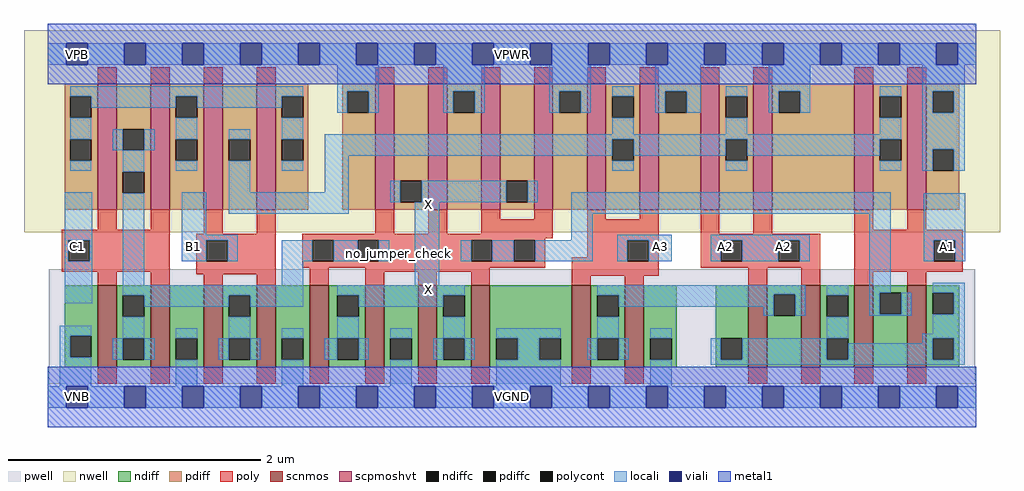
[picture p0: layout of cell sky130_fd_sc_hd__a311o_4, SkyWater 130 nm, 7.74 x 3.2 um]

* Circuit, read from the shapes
.subckt sky130_fd_sc_hd__a311o_4 A1 A2 A3 B1 C1 VGND VNB VPB VPWR X
XM1 n1 C1 VGND VNB sky130_fd_pr__nfet_01v8 w=0.65 l=0.15 m=2
XM2 n1 B1 VGND VNB sky130_fd_pr__nfet_01v8 w=0.65 l=0.15 m=2
XM3 X n1 VGND VNB sky130_fd_pr__nfet_01v8 w=0.65 l=0.15 m=4
XM4 n2 A3 VGND VNB sky130_fd_pr__nfet_01v8 w=0.65 l=0.15 m=2
XM5 n2 A2 n3 VNB sky130_fd_pr__nfet_01v8 w=0.65 l=0.15 m=2
XM6 n1 A1 n3 VNB sky130_fd_pr__nfet_01v8 w=0.65 l=0.15 m=2
XM7 n1 C1 n4 VPB sky130_fd_pr__pfet_01v8_hvt w=1 l=0.15 m=2
XM8 n5 B1 n4 VPB sky130_fd_pr__pfet_01v8_hvt w=1 l=0.15 m=2
XM9 X n1 VPWR VPB sky130_fd_pr__pfet_01v8_hvt w=1 l=0.15 m=4
XM10 n5 A3 VPWR VPB sky130_fd_pr__pfet_01v8_hvt w=1 l=0.15 m=2
XM11 n5 A2 VPWR VPB sky130_fd_pr__pfet_01v8_hvt w=1 l=0.15 m=2
XM12 n5 A1 VPWR VPB sky130_fd_pr__pfet_01v8_hvt w=1 l=0.15 m=2
.ends

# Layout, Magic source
magic
tech sky130B
magscale 1 2
<< nwell >>
rect -38 261 1510 582
<< pwell >>
rect 1 21 1471 203
rect 30 -17 64 21
<< scnmos >>
rect 79 47 109 177
rect 163 47 193 177
rect 247 47 277 177
rect 331 47 361 177
rect 415 47 445 177
rect 503 47 533 177
rect 587 47 617 177
rect 671 47 701 177
rect 831 47 861 177
rect 915 47 945 177
rect 1111 47 1141 177
rect 1195 47 1225 177
rect 1279 47 1309 177
rect 1363 47 1393 177
<< scpmoshvt >>
rect 79 297 109 497
rect 163 297 193 497
rect 247 297 277 497
rect 331 297 361 497
rect 519 297 549 497
rect 603 297 633 497
rect 687 297 717 497
rect 771 297 801 497
rect 855 297 885 497
rect 939 297 969 497
rect 1035 297 1065 497
rect 1119 297 1149 497
rect 1279 297 1309 497
rect 1363 297 1393 497
<< ndiff >>
rect 27 97 79 177
rect 27 63 35 97
rect 69 63 79 97
rect 27 47 79 63
rect 109 161 163 177
rect 109 127 119 161
rect 153 127 163 161
rect 109 93 163 127
rect 109 59 119 93
rect 153 59 163 93
rect 109 47 163 59
rect 193 93 247 177
rect 193 59 203 93
rect 237 59 247 93
rect 193 47 247 59
rect 277 161 331 177
rect 277 127 287 161
rect 321 127 331 161
rect 277 93 331 127
rect 277 59 287 93
rect 321 59 331 93
rect 277 47 331 59
rect 361 93 415 177
rect 361 59 371 93
rect 405 59 415 93
rect 361 47 415 59
rect 445 161 503 177
rect 445 127 459 161
rect 493 127 503 161
rect 445 93 503 127
rect 445 59 459 93
rect 493 59 503 93
rect 445 47 503 59
rect 533 93 587 177
rect 533 59 543 93
rect 577 59 587 93
rect 533 47 587 59
rect 617 161 671 177
rect 617 127 627 161
rect 661 127 671 161
rect 617 93 671 127
rect 617 59 627 93
rect 661 59 671 93
rect 617 47 671 59
rect 701 93 831 177
rect 701 59 711 93
rect 745 59 779 93
rect 813 59 831 93
rect 701 47 831 59
rect 861 161 915 177
rect 861 127 871 161
rect 905 127 915 161
rect 861 93 915 127
rect 861 59 871 93
rect 905 59 915 93
rect 861 47 915 59
rect 945 93 997 177
rect 945 59 955 93
rect 989 59 997 93
rect 945 47 997 59
rect 1059 93 1111 177
rect 1059 59 1067 93
rect 1101 59 1111 93
rect 1059 47 1111 59
rect 1141 163 1195 177
rect 1141 129 1151 163
rect 1185 129 1195 163
rect 1141 47 1195 129
rect 1225 161 1279 177
rect 1225 127 1235 161
rect 1269 127 1279 161
rect 1225 93 1279 127
rect 1225 59 1235 93
rect 1269 59 1279 93
rect 1225 47 1279 59
rect 1309 165 1363 177
rect 1309 131 1319 165
rect 1353 131 1363 165
rect 1309 47 1363 131
rect 1393 165 1445 177
rect 1393 131 1403 165
rect 1437 131 1445 165
rect 1393 93 1445 131
rect 1393 59 1403 93
rect 1437 59 1445 93
rect 1393 47 1445 59
<< pdiff >>
rect 27 477 79 497
rect 27 443 35 477
rect 69 443 79 477
rect 27 409 79 443
rect 27 375 35 409
rect 69 375 79 409
rect 27 297 79 375
rect 109 425 163 497
rect 109 391 119 425
rect 153 391 163 425
rect 109 357 163 391
rect 109 323 119 357
rect 153 323 163 357
rect 109 297 163 323
rect 193 477 247 497
rect 193 443 203 477
rect 237 443 247 477
rect 193 409 247 443
rect 193 375 203 409
rect 237 375 247 409
rect 193 297 247 375
rect 277 409 331 497
rect 277 375 287 409
rect 321 375 331 409
rect 277 297 331 375
rect 361 477 413 497
rect 361 443 371 477
rect 405 443 413 477
rect 361 409 413 443
rect 361 375 371 409
rect 405 375 413 409
rect 361 297 413 375
rect 467 485 519 497
rect 467 451 475 485
rect 509 451 519 485
rect 467 297 519 451
rect 549 343 603 497
rect 549 309 559 343
rect 593 309 603 343
rect 549 297 603 309
rect 633 485 687 497
rect 633 451 643 485
rect 677 451 687 485
rect 633 297 687 451
rect 717 343 771 497
rect 717 309 727 343
rect 761 309 771 343
rect 717 297 771 309
rect 801 485 855 497
rect 801 451 811 485
rect 845 451 855 485
rect 801 297 855 451
rect 885 477 939 497
rect 885 443 895 477
rect 929 443 939 477
rect 885 409 939 443
rect 885 375 895 409
rect 929 375 939 409
rect 885 297 939 375
rect 969 485 1035 497
rect 969 451 979 485
rect 1013 451 1035 485
rect 969 297 1035 451
rect 1065 477 1119 497
rect 1065 443 1075 477
rect 1109 443 1119 477
rect 1065 409 1119 443
rect 1065 375 1075 409
rect 1109 375 1119 409
rect 1065 297 1119 375
rect 1149 485 1279 497
rect 1149 451 1159 485
rect 1193 451 1279 485
rect 1149 297 1279 451
rect 1309 477 1363 497
rect 1309 443 1319 477
rect 1353 443 1363 477
rect 1309 409 1363 443
rect 1309 375 1319 409
rect 1353 375 1363 409
rect 1309 297 1363 375
rect 1393 485 1445 497
rect 1393 451 1403 485
rect 1437 451 1445 485
rect 1393 393 1445 451
rect 1393 359 1403 393
rect 1437 359 1445 393
rect 1393 297 1445 359
<< ndiffc >>
rect 35 63 69 97
rect 119 127 153 161
rect 119 59 153 93
rect 203 59 237 93
rect 287 127 321 161
rect 287 59 321 93
rect 371 59 405 93
rect 459 127 493 161
rect 459 59 493 93
rect 543 59 577 93
rect 627 127 661 161
rect 627 59 661 93
rect 711 59 745 93
rect 779 59 813 93
rect 871 127 905 161
rect 871 59 905 93
rect 955 59 989 93
rect 1067 59 1101 93
rect 1151 129 1185 163
rect 1235 127 1269 161
rect 1235 59 1269 93
rect 1319 131 1353 165
rect 1403 131 1437 165
rect 1403 59 1437 93
<< pdiffc >>
rect 35 443 69 477
rect 35 375 69 409
rect 119 391 153 425
rect 119 323 153 357
rect 203 443 237 477
rect 203 375 237 409
rect 287 375 321 409
rect 371 443 405 477
rect 371 375 405 409
rect 475 451 509 485
rect 559 309 593 343
rect 643 451 677 485
rect 727 309 761 343
rect 811 451 845 485
rect 895 443 929 477
rect 895 375 929 409
rect 979 451 1013 485
rect 1075 443 1109 477
rect 1075 375 1109 409
rect 1159 451 1193 485
rect 1319 443 1353 477
rect 1319 375 1353 409
rect 1403 451 1437 485
rect 1403 359 1437 393
<< poly >>
rect 79 497 109 523
rect 163 497 193 523
rect 247 497 277 523
rect 331 497 361 523
rect 519 497 549 523
rect 603 497 633 523
rect 687 497 717 523
rect 771 497 801 523
rect 855 497 885 523
rect 939 497 969 523
rect 1035 497 1065 523
rect 1119 497 1149 523
rect 1279 497 1309 523
rect 1363 497 1393 523
rect 79 265 109 297
rect 163 265 193 297
rect 22 249 193 265
rect 247 259 277 297
rect 331 259 361 297
rect 519 259 549 297
rect 603 259 633 297
rect 687 282 717 297
rect 771 282 801 297
rect 687 259 801 282
rect 22 215 32 249
rect 66 215 193 249
rect 22 199 193 215
rect 79 177 109 199
rect 163 177 193 199
rect 235 249 361 259
rect 235 215 251 249
rect 285 215 361 249
rect 235 195 361 215
rect 403 252 801 259
rect 855 282 885 297
rect 939 282 969 297
rect 403 249 789 252
rect 403 215 419 249
rect 453 215 491 249
rect 525 215 671 249
rect 705 215 739 249
rect 773 215 789 249
rect 855 249 969 282
rect 855 222 919 249
rect 403 205 789 215
rect 831 215 919 222
rect 953 215 969 249
rect 247 177 277 195
rect 331 177 361 195
rect 415 177 445 205
rect 503 199 701 205
rect 503 177 533 199
rect 587 177 617 199
rect 671 177 701 199
rect 831 192 969 215
rect 1035 259 1065 297
rect 1119 259 1149 297
rect 1279 265 1309 297
rect 1363 265 1393 297
rect 1035 249 1225 259
rect 1035 215 1067 249
rect 1101 215 1158 249
rect 1192 215 1225 249
rect 1035 205 1225 215
rect 831 177 861 192
rect 915 177 945 192
rect 1111 177 1141 205
rect 1195 177 1225 205
rect 1279 249 1451 265
rect 1279 215 1405 249
rect 1439 215 1451 249
rect 1279 199 1451 215
rect 1279 177 1309 199
rect 1363 177 1393 199
rect 79 21 109 47
rect 163 21 193 47
rect 247 21 277 47
rect 331 21 361 47
rect 415 21 445 47
rect 503 21 533 47
rect 587 21 617 47
rect 671 21 701 47
rect 831 21 861 47
rect 915 21 945 47
rect 1111 21 1141 47
rect 1195 21 1225 47
rect 1279 21 1309 47
rect 1363 21 1393 47
<< polycont >>
rect 32 215 66 249
rect 251 215 285 249
rect 419 215 453 249
rect 491 215 525 249
rect 671 215 705 249
rect 739 215 773 249
rect 919 215 953 249
rect 1067 215 1101 249
rect 1158 215 1192 249
rect 1405 215 1439 249
<< locali >>
rect 0 527 29 561
rect 63 527 121 561
rect 155 527 213 561
rect 247 527 305 561
rect 339 527 397 561
rect 431 527 489 561
rect 523 527 581 561
rect 615 527 673 561
rect 707 527 765 561
rect 799 527 857 561
rect 891 527 949 561
rect 983 527 1041 561
rect 1075 527 1133 561
rect 1167 527 1225 561
rect 1259 527 1317 561
rect 1351 527 1409 561
rect 1443 527 1472 561
rect 35 477 405 493
rect 69 459 203 477
rect 35 409 69 443
rect 237 459 371 477
rect 103 391 119 425
rect 153 391 169 425
rect 203 409 237 443
rect 459 485 525 527
rect 459 451 475 485
rect 509 451 525 485
rect 627 485 693 527
rect 627 451 643 485
rect 677 451 693 485
rect 795 485 861 527
rect 795 451 811 485
rect 845 451 861 485
rect 895 477 929 493
rect 35 359 69 375
rect 119 357 153 391
rect 203 359 237 375
rect 287 409 321 425
rect 27 249 70 325
rect 27 215 32 249
rect 66 215 70 249
rect 27 149 70 215
rect 287 325 321 375
rect 371 409 405 443
rect 963 485 1035 527
rect 963 451 979 485
rect 1013 451 1035 485
rect 1075 477 1109 493
rect 895 417 929 443
rect 1143 485 1209 527
rect 1143 451 1159 485
rect 1193 451 1209 485
rect 1319 477 1353 493
rect 1075 417 1109 443
rect 1319 417 1353 443
rect 371 359 405 375
rect 439 409 1353 417
rect 439 383 895 409
rect 439 325 477 383
rect 929 383 1075 409
rect 895 359 929 375
rect 1109 383 1319 409
rect 1075 359 1109 375
rect 1319 359 1353 375
rect 1387 485 1454 527
rect 1387 451 1403 485
rect 1437 451 1454 485
rect 1387 393 1454 451
rect 1387 359 1403 393
rect 1437 359 1454 393
rect 119 177 153 323
rect 212 257 251 325
rect 287 291 477 325
rect 543 309 559 343
rect 593 309 727 343
rect 761 309 777 343
rect 212 249 301 257
rect 212 215 251 249
rect 285 215 301 249
rect 371 215 419 249
rect 453 215 491 249
rect 525 215 541 249
rect 371 177 405 215
rect 582 177 621 309
rect 830 291 1337 325
rect 830 249 864 291
rect 655 215 671 249
rect 705 215 739 249
rect 773 215 864 249
rect 903 249 989 257
rect 903 215 919 249
rect 953 215 989 249
rect 1051 249 1208 257
rect 1051 215 1067 249
rect 1101 215 1158 249
rect 1192 215 1208 249
rect 119 161 405 177
rect 153 143 287 161
rect 19 97 69 113
rect 19 63 35 97
rect 119 93 153 127
rect 321 143 405 161
rect 459 161 661 177
rect 203 93 237 109
rect 287 93 321 127
rect 493 143 627 161
rect 371 93 405 109
rect 459 93 493 127
rect 543 93 577 109
rect 627 93 661 127
rect 871 163 1201 177
rect 871 161 1151 163
rect 905 143 1151 161
rect 1135 129 1151 143
rect 1185 129 1201 163
rect 1235 161 1269 177
rect 711 93 813 109
rect 871 93 905 127
rect 1303 165 1337 291
rect 1389 249 1455 323
rect 1389 215 1405 249
rect 1439 215 1455 249
rect 1403 165 1454 181
rect 1303 131 1319 165
rect 1353 131 1369 165
rect 1303 129 1369 131
rect 1437 131 1454 165
rect 955 93 989 109
rect 1235 93 1269 127
rect 1403 100 1454 131
rect 19 17 69 63
rect 103 59 119 93
rect 153 59 169 93
rect 271 59 287 93
rect 321 59 337 93
rect 439 59 459 93
rect 493 59 509 93
rect 611 59 627 93
rect 661 59 677 93
rect 745 59 779 93
rect 855 59 871 93
rect 905 59 921 93
rect 203 17 237 59
rect 371 17 405 59
rect 543 17 577 59
rect 711 17 813 59
rect 955 17 989 59
rect 1051 59 1067 93
rect 1101 59 1235 93
rect 1387 93 1454 100
rect 1387 85 1403 93
rect 1269 59 1403 85
rect 1437 59 1454 93
rect 1051 51 1454 59
rect 0 -17 29 17
rect 63 -17 121 17
rect 155 -17 213 17
rect 247 -17 305 17
rect 339 -17 397 17
rect 431 -17 489 17
rect 523 -17 581 17
rect 615 -17 673 17
rect 707 -17 765 17
rect 799 -17 857 17
rect 891 -17 949 17
rect 983 -17 1041 17
rect 1075 -17 1133 17
rect 1167 -17 1225 17
rect 1259 -17 1317 17
rect 1351 -17 1409 17
rect 1443 -17 1472 17
<< viali >>
rect 29 527 63 561
rect 121 527 155 561
rect 213 527 247 561
rect 305 527 339 561
rect 397 527 431 561
rect 489 527 523 561
rect 581 527 615 561
rect 673 527 707 561
rect 765 527 799 561
rect 857 527 891 561
rect 949 527 983 561
rect 1041 527 1075 561
rect 1133 527 1167 561
rect 1225 527 1259 561
rect 1317 527 1351 561
rect 1409 527 1443 561
rect 29 -17 63 17
rect 121 -17 155 17
rect 213 -17 247 17
rect 305 -17 339 17
rect 397 -17 431 17
rect 489 -17 523 17
rect 581 -17 615 17
rect 673 -17 707 17
rect 765 -17 799 17
rect 857 -17 891 17
rect 949 -17 983 17
rect 1041 -17 1075 17
rect 1133 -17 1167 17
rect 1225 -17 1259 17
rect 1317 -17 1351 17
rect 1409 -17 1443 17
<< metal1 >>
rect 0 561 1472 592
rect 0 527 29 561
rect 63 527 121 561
rect 155 527 213 561
rect 247 527 305 561
rect 339 527 397 561
rect 431 527 489 561
rect 523 527 581 561
rect 615 527 673 561
rect 707 527 765 561
rect 799 527 857 561
rect 891 527 949 561
rect 983 527 1041 561
rect 1075 527 1133 561
rect 1167 527 1225 561
rect 1259 527 1317 561
rect 1351 527 1409 561
rect 1443 527 1472 561
rect 0 496 1472 527
rect 0 17 1472 48
rect 0 -17 29 17
rect 63 -17 121 17
rect 155 -17 213 17
rect 247 -17 305 17
rect 339 -17 397 17
rect 431 -17 489 17
rect 523 -17 581 17
rect 615 -17 673 17
rect 707 -17 765 17
rect 799 -17 857 17
rect 891 -17 949 17
rect 983 -17 1041 17
rect 1075 -17 1133 17
rect 1167 -17 1225 17
rect 1259 -17 1317 17
rect 1351 -17 1409 17
rect 1443 -17 1472 17
rect 0 -48 1472 -17
<< labels >>
flabel pwell s 30 -17 64 17 0 FreeSans 200 0 0 0 VNB
port 7 nsew ground bidirectional
flabel nwell s 30 527 64 561 0 FreeSans 200 0 0 0 VPB
port 8 nsew power bidirectional
flabel metal1 s 30 -17 64 17 0 FreeSans 200 0 0 0 VGND
port 6 nsew ground bidirectional abutment
flabel metal1 s 30 527 64 561 0 FreeSans 200 0 0 0 VPWR
port 9 nsew power bidirectional abutment
flabel locali s 30 221 64 255 0 FreeSans 200 0 0 0 C1
port 5 nsew signal input
flabel locali s 1409 221 1443 255 0 FreeSans 200 0 0 0 A1
port 1 nsew signal input
flabel locali s 1150 221 1184 255 0 FreeSans 200 0 0 0 A2
port 2 nsew signal input
flabel locali s 1058 221 1092 255 0 FreeSans 200 0 0 0 A2
port 2 nsew signal input
flabel locali s 954 221 988 255 0 FreeSans 200 0 0 0 A3
port 3 nsew signal input
flabel locali s 586 153 620 187 0 FreeSans 200 0 0 0 X
port 10 nsew signal output
flabel locali s 586 289 620 323 0 FreeSans 200 0 0 0 X
port 10 nsew signal output
flabel locali s 214 221 248 255 0 FreeSans 200 0 0 0 B1
port 4 nsew signal input
rlabel comment s 0 0 0 0 4 a311o_4
flabel comment s 556 227 556 227 0 FreeSans 200 0 0 0 no_jumper_check
rlabel metal1 s 0 -48 1472 48 1 VGND
port 6 nsew ground bidirectional abutment
rlabel metal1 s 0 496 1472 592 1 VPWR
port 9 nsew power bidirectional abutment
<< properties >>
string FIXED_BBOX 0 0 1472 544
string GDS_END 3701126
string GDS_FILE $PDKPATH/libs.ref/sky130_fd_sc_hd/gds/sky130_fd_sc_hd.gds
string GDS_START 3689404
string LEFclass CORE
string LEFsite unithd
string LEFsymmetry X Y R90
string path 0.000 0.000 36.800 0.000 
<< end >>
